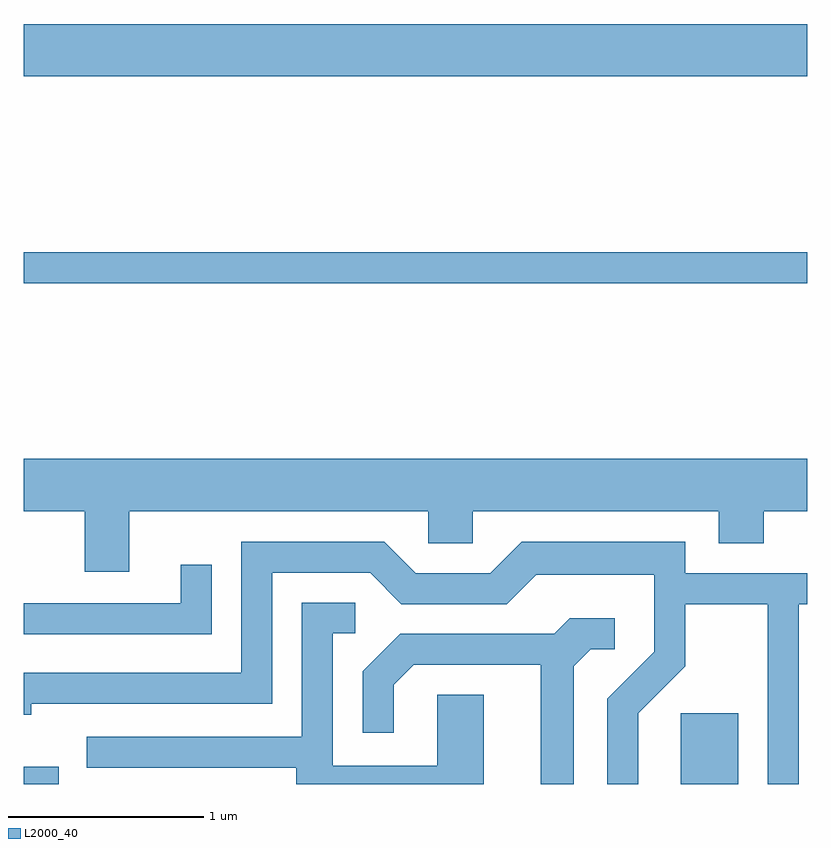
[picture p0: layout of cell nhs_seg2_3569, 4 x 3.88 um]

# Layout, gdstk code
import gdstk
lib = gdstk.Library(unit=1e-6, precision=1e-09)
def R(c, l, rs):  # rectangles x0, y0, x1, y1
    for r in rs: c.add(gdstk.rectangle(r[:2], r[2:], *l))
def P(c, l, *ps):  # polygons
    for p in ps: c.add(gdstk.Polygon(p, *l))
L2000_40 = (2000, 40)

nhs_seg2_3569 = lib.new_cell('nhs_seg2_3569')
R(nhs_seg2_3569, L2000_40, [(289.611,1055.802,289.789,1055.889), (292.966,1055.802,293.259,1056.164), (289.611,1058.361,293.611,1058.519), (289.611,1059.416,293.611,1059.684)])
P(nhs_seg2_3569, L2000_40, [(290.149,1057.196),(291.676,1057.196),(291.676,1057.031),(291.904,1057.031),(291.904,1057.196),(293.161,1057.196),(293.161,1057.031),(293.389,1057.031),(293.389,1057.196),(293.611,1057.196),(293.611,1057.464),(289.611,1057.464),(289.611,1057.196),(289.921,1057.196),(289.921,1056.886),(290.149,1056.886)],
  [(292.749,1056.164),(292.989,1056.404),(292.989,1056.721),(293.411,1056.721),(293.411,1055.802),(293.569,1055.802),(293.569,1056.721),(293.611,1056.721),(293.611,1056.879),(292.989,1056.879),(292.989,1057.039),(292.154,1057.039),(291.994,1056.879),(291.612,1056.879),(291.452,1057.039),(290.721,1057.039),(290.721,1056.369),(289.611,1056.369),(289.611,1056.156),(289.649,1056.156),(289.649,1056.211),(290.879,1056.211),(290.879,1056.881),(291.379,1056.881),(291.539,1056.721),(292.077,1056.721),(292.227,1056.871),(292.831,1056.871),(292.831,1056.477),(292.591,1056.237),(292.591,1055.802),(292.749,1055.802)],
  [(290.569,1056.923),(290.411,1056.923),(290.411,1056.724),(289.611,1056.724),(289.611,1056.566),(290.569,1056.566)],
  [(291.959,1056.259),(291.721,1056.259),(291.721,1055.894),(291.189,1055.894),(291.189,1056.571),(291.303,1056.571),(291.303,1056.729),(291.031,1056.729),(291.031,1056.044),(289.933,1056.044),(289.933,1055.886),(291.001,1055.886),(291.001,1055.802),(291.959,1055.802)],
  [(292.419,1056.404),(292.507,1056.491),(292.628,1056.491),(292.628,1056.649),(292.399,1056.649),(292.319,1056.569),(291.534,1056.569),(291.341,1056.377),(291.341,1056.063),(291.499,1056.063),(291.499,1056.309),(291.602,1056.411),(292.251,1056.411),(292.251,1055.802),(292.419,1055.802)])

lib.write_gds('nhs_seg2_3569.gds')
